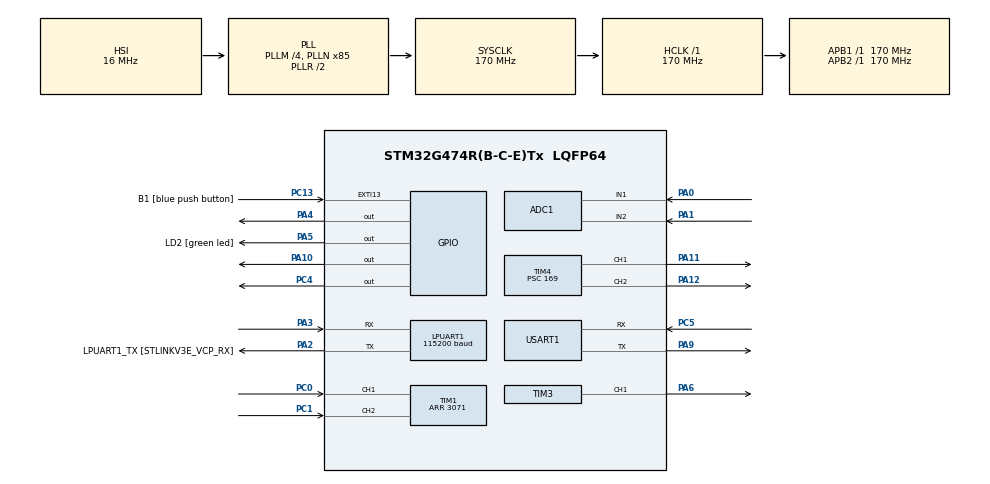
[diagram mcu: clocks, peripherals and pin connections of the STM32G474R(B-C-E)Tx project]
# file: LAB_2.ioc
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ADC1.Channel-0\#ChannelRegularConversion=ADC_CHANNEL_1
ADC1.Channel-1\#ChannelRegularConversion=ADC_CHANNEL_2
ADC1.ContinuousConvMode=ENABLE
ADC1.DMAContinuousRequests=ENABLE
ADC1.NbrOfConversion=2
ADC1.NbrOfConversionFlag=1
ADC1.OffsetNumber-0\#ChannelRegularConversion=ADC_OFFSET_NONE
ADC1.OffsetNumber-1\#ChannelRegularConversion=ADC_OFFSET_NONE
ADC1.Rank-0\#ChannelRegularConversion=1
ADC1.Rank-1\#ChannelRegularConversion=2
ADC1.SamplingTime-0\#ChannelRegularConversion=ADC_SAMPLETIME_640CYCLES_5
ADC1.SamplingTime-1\#ChannelRegularConversion=ADC_SAMPLETIME_640CYCLES_5
ADC1.master=1
ARM.CMSIS-DSP.1.15.0.CMSISJjDSP=Source
ARM.CMSIS.6.0.0.CMSISJjCORE=true
Dma.ADC1.0.Direction=DMA_PERIPH_TO_MEMORY
Dma.ADC1.0.EventEnable=DISABLE
Dma.ADC1.0.Instance=DMA1_Channel1
Dma.ADC1.0.MemDataAlignment=DMA_MDATAALIGN_HALFWORD
Dma.ADC1.0.MemInc=DMA_MINC_ENABLE
Dma.ADC1.0.Mode=DMA_CIRCULAR
Dma.ADC1.0.PeriphDataAlignment=DMA_PDATAALIGN_HALFWORD
Dma.ADC1.0.PeriphInc=DMA_PINC_DISABLE
Dma.ADC1.0.Polarity=HAL_DMAMUX_REQ_GEN_RISING
Dma.ADC1.0.Priority=DMA_PRIORITY_LOW
Dma.ADC1.0.RequestNumber=1
Dma.ADC1.0.SignalID=NONE
Dma.ADC1.0.SyncEnable=DISABLE
Dma.ADC1.0.SyncPolarity=HAL_DMAMUX_SYNC_NO_EVENT
Dma.ADC1.0.SyncRequestNumber=1
Dma.ADC1.0.SyncSignalID=NONE
Dma.LPUART1_RX.3.Direction=DMA_PERIPH_TO_MEMORY
Dma.LPUART1_RX.3.EventEnable=DISABLE
Dma.LPUART1_RX.3.Instance=DMA1_Channel2
Dma.LPUART1_RX.3.MemDataAlignment=DMA_MDATAALIGN_BYTE
Dma.LPUART1_RX.3.MemInc=DMA_MINC_ENABLE
Dma.LPUART1_RX.3.Mode=DMA_CIRCULAR
Dma.LPUART1_RX.3.PeriphDataAlignment=DMA_PDATAALIGN_BYTE
Dma.LPUART1_RX.3.PeriphInc=DMA_PINC_DISABLE
Dma.LPUART1_RX.3.Polarity=HAL_DMAMUX_REQ_GEN_RISING
Dma.LPUART1_RX.3.Priority=DMA_PRIORITY_LOW
Dma.LPUART1_RX.3.RequestNumber=1
Dma.LPUART1_RX.3.SignalID=NONE
Dma.LPUART1_RX.3.SyncEnable=DISABLE
Dma.LPUART1_RX.3.SyncPolarity=HAL_DMAMUX_SYNC_NO_EVENT
Dma.LPUART1_RX.3.SyncRequestNumber=1
Dma.LPUART1_RX.3.SyncSignalID=NONE
Dma.LPUART1_TX.4.Direction=DMA_MEMORY_TO_PERIPH
Dma.LPUART1_TX.4.EventEnable=DISABLE
Dma.LPUART1_TX.4.Instance=DMA1_Channel3
Dma.LPUART1_TX.4.MemDataAlignment=DMA_MDATAALIGN_BYTE
Dma.LPUART1_TX.4.MemInc=DMA_MINC_ENABLE
Dma.LPUART1_TX.4.Mode=DMA_NORMAL
Dma.LPUART1_TX.4.PeriphDataAlignment=DMA_PDATAALIGN_BYTE
Dma.LPUART1_TX.4.PeriphInc=DMA_PINC_DISABLE
Dma.LPUART1_TX.4.Polarity=HAL_DMAMUX_REQ_GEN_RISING
Dma.LPUART1_TX.4.Priority=DMA_PRIORITY_LOW
Dma.LPUART1_TX.4.RequestNumber=1
Dma.LPUART1_TX.4.SignalID=NONE
Dma.LPUART1_TX.4.SyncEnable=DISABLE
Dma.LPUART1_TX.4.SyncPolarity=HAL_DMAMUX_SYNC_NO_EVENT
Dma.LPUART1_TX.4.SyncRequestNumber=1
Dma.LPUART1_TX.4.SyncSignalID=NONE
Dma.Request0=ADC1
Dma.Request1=USART1_RX
Dma.Request2=USART1_TX
Dma.Request3=LPUART1_RX
Dma.Request4=LPUART1_TX
Dma.USART1_RX.1.Direction=DMA_PERIPH_TO_MEMORY
Dma.USART1_RX.1.EventEnable=DISABLE
Dma.USART1_RX.1.Instance=DMA1_Channel4
Dma.USART1_RX.1.MemDataAlignment=DMA_MDATAALIGN_BYTE
Dma.USART1_RX.1.MemInc=DMA_MINC_ENABLE
Dma.USART1_RX.1.Mode=DMA_CIRCULAR
Dma.USART1_RX.1.PeriphDataAlignment=DMA_PDATAALIGN_BYTE
Dma.USART1_RX.1.PeriphInc=DMA_PINC_DISABLE
Dma.USART1_RX.1.Polarity=HAL_DMAMUX_REQ_GEN_RISING
Dma.USART1_RX.1.Priority=DMA_PRIORITY_LOW
Dma.USART1_RX.1.RequestNumber=1
Dma.USART1_RX.1.SignalID=NONE
Dma.USART1_RX.1.SyncEnable=DISABLE
Dma.USART1_RX.1.SyncPolarity=HAL_DMAMUX_SYNC_NO_EVENT
Dma.USART1_RX.1.SyncRequestNumber=1
Dma.USART1_RX.1.SyncSignalID=NONE
Dma.USART1_TX.2.Direction=DMA_MEMORY_TO_PERIPH
Dma.USART1_TX.2.EventEnable=DISABLE
Dma.USART1_TX.2.Instance=DMA1_Channel5
Dma.USART1_TX.2.MemDataAlignment=DMA_MDATAALIGN_BYTE
Dma.USART1_TX.2.MemInc=DMA_MINC_ENABLE
Dma.USART1_TX.2.Mode=DMA_NORMAL
Dma.USART1_TX.2.PeriphDataAlignment=DMA_PDATAALIGN_BYTE
Dma.USART1_TX.2.PeriphInc=DMA_PINC_DISABLE
Dma.USART1_TX.2.Polarity=HAL_DMAMUX_REQ_GEN_RISING
Dma.USART1_TX.2.Priority=DMA_PRIORITY_LOW
Dma.USART1_TX.2.RequestNumber=1
Dma.USART1_TX.2.SignalID=NONE
Dma.USART1_TX.2.SyncEnable=DISABLE
Dma.USART1_TX.2.SyncPolarity=HAL_DMAMUX_SYNC_NO_EVENT
Dma.USART1_TX.2.SyncRequestNumber=1
Dma.USART1_TX.2.SyncSignalID=NONE
LPUART1.BaudRate=115200
Mcu.Family=STM32G4
Mcu.Name=STM32G474R(B-C-E)Tx
Mcu.Package=LQFP64
NVIC.ADC1_2_IRQn=true\:0\:0\:false\:false\:true\:true\:true\:true
NVIC.DMA1_Channel1_IRQn=true\:0\:0\:false\:false\:true\:false\:true\:true
NVIC.DMA1_Channel2_IRQn=true\:0\:0\:false\:false\:true\:false\:true\:true
NVIC.DMA1_Channel3_IRQn=true\:0\:0\:false\:false\:true\:false\:true\:true
NVIC.DMA1_Channel4_IRQn=true\:0\:0\:false\:false\:true\:false\:true\:true
NVIC.DMA1_Channel5_IRQn=true\:0\:0\:false\:false\:true\:false\:true\:true
NVIC.EXTI15_10_IRQn=true\:0\:0\:false\:false\:true\:true\:true\:true
NVIC.LPUART1_IRQn=true\:0\:0\:false\:false\:true\:true\:true\:true
NVIC.PriorityGroup=NVIC_PRIORITYGROUP_4
NVIC.TIM2_IRQn=true\:0\:0\:false\:false\:true\:true\:true\:true
NVIC.USART1_IRQn=true\:0\:0\:false\:false\:true\:true\:true\:true
PA0.Mode=IN1-Single-Ended
PA0.Signal=ADC1_IN1
PA1.Mode=IN2-Single-Ended
PA1.Signal=ADC1_IN2
PA10.Signal=GPIO_Output
PA11.Signal=S_TIM4_CH1
PA12.Signal=S_TIM4_CH2
PA13.GPIO_Label=T_SWDIO
PA13.Mode=Serial_Wire
PA13.Signal=SYS_JTMS-SWDIO
PA14.GPIO_Label=T_SWCLK
PA14.Mode=Serial_Wire
PA14.Signal=SYS_JTCK-SWCLK
PA2.GPIO_Label=LPUART1_TX [STLINKV3E_VCP_RX]
PA2.Mode=Asynchronous
PA2.Signal=LPUART1_TX
PA3.Mode=Asynchronous
PA3.Signal=LPUART1_RX
PA4.Signal=GPIO_Output
PA5.GPIO_Label=LD2 [green led]
PA5.Signal=GPIO_Output
PA6.Signal=S_TIM3_CH1
PA9.Mode=Asynchronous
PA9.Signal=USART1_TX
PB3.GPIO_Label=T_SWO
PB3.Signal=SYS_JTDO-SWO
PC0.Signal=S_TIM1_CH1
PC1.Signal=S_TIM1_CH2
PC13.GPIO_Label=B1 [blue push button]
PC13.Signal=GPXTI13
PC14-OSC32_IN.Mode=LSE-External-Oscillator
PC14-OSC32_IN.Signal=RCC_OSC32_IN
PC15-OSC32_OUT.Mode=LSE-External-Oscillator
PC15-OSC32_OUT.Signal=RCC_OSC32_OUT
PC4.Signal=GPIO_Output
PC5.Mode=Asynchronous
PC5.Signal=USART1_RX
PF0-OSC_IN.Mode=HSE-External-Oscillator
PF0-OSC_IN.Signal=RCC_OSC_IN
PF1-OSC_OUT.Mode=HSE-External-Oscillator
PF1-OSC_OUT.Signal=RCC_OSC_OUT
ProjectManager.HeapSize=0x200
ProjectManager.StackSize=0x400
ProjectManager.TargetToolchain=STM32CubeIDE
RCC.ADC12Freq_Value=170000000
RCC.ADC345Freq_Value=170000000
RCC.AHBFreq_Value=170000000
RCC.APB1Freq_Value=170000000
RCC.APB1TimFreq_Value=170000000
RCC.APB2Freq_Value=170000000
RCC.APB2TimFreq_Value=170000000
RCC.CortexFreq_Value=170000000
RCC.EXTERNAL_CLOCK_VALUE=12288000
RCC.HCLKFreq_Value=170000000
RCC.HSE_VALUE=24000000
RCC.HSI48_VALUE=48000000
RCC.HSI_VALUE=16000000
RCC.PLLM=RCC_PLLM_DIV4
RCC.PLLN=85
RCC.RTCClockSelection=RCC_RTCCLKSOURCE_LSE
RCC.SYSCLKFreq_VALUE=170000000
RCC.SYSCLKSource=RCC_SYSCLKSOURCE_PLLCLK
RCC.USBFreq_Value=170000000
RCC.VCOOutputFreq_Value=340000000
SH.S_TIM1_CH1.0=TIM1_CH1,Encoder_Interface
SH.S_TIM1_CH2.0=TIM1_CH2,Encoder_Interface
SH.S_TIM3_CH1.0=TIM3_CH1,PWM Generation1 CH1
SH.S_TIM4_CH1.0=TIM4_CH1,PWM Generation1 CH1
SH.S_TIM4_CH2.0=TIM4_CH2,PWM Generation2 CH2
TIM1.EncoderMode=TIM_ENCODERMODE_TI12
TIM1.PeriodNoDither=3071
TIM2.PeriodNoDither=999
TIM2.Prescaler=169
TIM3.Channel-PWM\ Generation1\ CH1=TIM_CHANNEL_1
TIM3.PeriodNoDither=4999
TIM3.Prescaler=169
TIM3.PulseNoDither_1=0
TIM4.Channel-PWM\ Generation1\ CH1=TIM_CHANNEL_1
TIM4.Channel-PWM\ Generation2\ CH2=TIM_CHANNEL_2
TIM4.PeriodNoDither=4999
TIM4.Prescaler=169
USART1.VirtualMode-Asynchronous=VM_ASYNC
VP_ARM.CMSIS-DSP_VS_CMSISJjDSP_1.15.0_1.15.0.Mode=CMSISJjDSP
VP_ARM.CMSIS_VS_CMSISJjCORE_6.0.0_6.0.0.Mode=CMSISJjCORE
VP_SYS_VS_DBSignals.Mode=DisableDeadBatterySignals
VP_TIM2_VS_ClockSourceINT.Mode=Internal
VP_TIM3_VS_ClockSourceINT.Mode=Internal
VP_TIM4_VS_ClockSourceINT.Mode=Internal
board=NUCLEO-G474RE

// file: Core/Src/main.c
/* USER CODE BEGIN Header */
/**
  ******************************************************************************
  * @file           : main.c
  * @brief          : Main program body
  ******************************************************************************
  * @attention
  *
  * Copyright (c) 2024 STMicroelectronics.
  * All rights reserved.
  *
  * This software is licensed under terms that can be found in the LICENSE file
  * in the root directory of this software component.
  * If no LICENSE file comes with this software, it is provided AS-IS.
  *
  ******************************************************************************
  */
/* USER CODE END Header */
#include "main.h"

/* USER CODE BEGIN Includes */
#include "arm_math.h"
#include "stdio.h"
#include "string.h"
/* USER CODE END Includes */

ADC_HandleTypeDef hadc1;
DMA_HandleTypeDef hdma_adc1;

UART_HandleTypeDef hlpuart1;
UART_HandleTypeDef huart1;
DMA_HandleTypeDef hdma_lpuart1_rx;
DMA_HandleTypeDef hdma_lpuart1_tx;
DMA_HandleTypeDef hdma_usart1_rx;
DMA_HandleTypeDef hdma_usart1_tx;

TIM_HandleTypeDef htim1;
TIM_HandleTypeDef htim2;
TIM_HandleTypeDef htim3;
TIM_HandleTypeDef htim4;

/* USER CODE BEGIN PV */
int Mode = 0;
uint16_t PWM_set = 0;
int vfbtopwm = 0;
float Vfeedback = 0;
double absVfb = 0;
int usepwm = 0;
int err = 0;
uint16_t a=20;
double clockwise = 0;
double counterclockwise = 0;

uint16_t angular_position = 0;
uint16_t set_point = 0;

uint16_t ADC_RawRead[2] = {0};

arm_pid_instance_f32 PID = {0};
arm_pid_instance_f32 PID2 = {0};

uint32_t QEIReadRaw;
uint32_t motor2Angle;

int8_t RxBuffer[4];
uint8_t TxBuffer[4];
int MAT_PWM = 0;
/* USER CODE END PV */

void SystemClock_Config(void);
static void MX_GPIO_Init(void);
static void MX_DMA_Init(void);
static void MX_ADC1_Init(void);
static void MX_TIM3_Init(void);
static void MX_TIM2_Init(void);
static void MX_TIM1_Init(void);
static void MX_TIM4_Init(void);
static void MX_LPUART1_UART_Init(void);
static void MX_USART1_UART_Init(void);
/* USER CODE BEGIN PFP */
void Part_I_PID_ADC();
void Part_II_QEI();
void Part_III_UART();
void UARTTrans();
void UARTReci();
void UARTDMAConfig();

/* USER CODE END PFP */

int main(void)
{

  /* MCU Configuration--------------------------------------------------------*/

  /* Reset of all peripherals, Initializes the Flash interface and the Systick. */
  HAL_Init();

  /* Configure the system clock */
  SystemClock_Config();

  /* Initialize all configured peripherals */
  MX_GPIO_Init();
  MX_DMA_Init();
  MX_ADC1_Init();
  MX_TIM3_Init();
  MX_TIM2_Init();
  MX_TIM1_Init();
  MX_TIM4_Init();
  MX_LPUART1_UART_Init();
  MX_USART1_UART_Init();
  /* USER CODE BEGIN 2 */
  HAL_ADCEx_Calibration_Start(&hadc1, ADC_SINGLE_ENDED);
  HAL_ADC_Start_DMA(&hadc1, ADC_RawRead, 2);

  PID.Kp = 0.01;
  PID.Ki = 0.0000045;
  PID.Kd = 0.000009;
  arm_pid_init_f32(&PID, 0);

  PID2.Kp = 0.0047;
  PID2.Ki = 0.000035;
  PID2.Kd = 0.00041;
  arm_pid_init_f32(&PID2, 0);

  HAL_TIM_Base_Start_IT(&htim2);

  HAL_TIM_Base_Start(&htim3);
  HAL_TIM_PWM_Start(&htim3, TIM_CHANNEL_1);
  HAL_TIM_Base_Start(&htim4);
  HAL_TIM_PWM_Start(&htim4, TIM_CHANNEL_1);
  HAL_TIM_PWM_Start(&htim4, TIM_CHANNEL_2);

  HAL_TIM_Encoder_Start(&htim1,TIM_CHANNEL_ALL);

  UARTReci();
  /* USER CODE END 2 */

  /* Infinite loop */
  while (1)
  {

    /* USER CODE BEGIN 3 */
//	  __HAL_TIM_SET_COMPARE(&htim3, TIM_CHANNEL_1, PWM_set);
	  if(Mode == 0){
		  Part_I_PID_ADC();
	  }
	  else if(Mode == 1){
		  QEIReadRaw = __HAL_TIM_GET_COUNTER(&htim1);
		  Part_II_QEI();
	  }
	  else if(Mode == 2){
		  Part_III_UART();
	  }
  }
  /* USER CODE END 3 */
}

void SystemClock_Config(void)
{
  RCC_OscInitTypeDef RCC_OscInitStruct = {0};
  RCC_ClkInitTypeDef RCC_ClkInitStruct = {0};

  /** Configure the main internal regulator output voltage
  */
  HAL_PWREx_ControlVoltageScaling(PWR_REGULATOR_VOLTAGE_SCALE1_BOOST);

  /** Initializes the RCC Oscillators according to the specified parameters
  * in the RCC_OscInitTypeDef structure.
  */
  RCC_OscInitStruct.OscillatorType = RCC_OSCILLATORTYPE_HSI;
  RCC_OscInitStruct.HSIState = RCC_HSI_ON;
  RCC_OscInitStruct.HSICalibrationValue = RCC_HSICALIBRATION_DEFAULT;
  RCC_OscInitStruct.PLL.PLLState = RCC_PLL_ON;
  RCC_OscInitStruct.PLL.PLLSource = RCC_PLLSOURCE_HSI;
  RCC_OscInitStruct.PLL.PLLM = RCC_PLLM_DIV4;
  RCC_OscInitStruct.PLL.PLLN = 85;
  RCC_OscInitStruct.PLL.PLLP = RCC_PLLP_DIV2;
  RCC_OscInitStruct.PLL.PLLQ = RCC_PLLQ_DIV2;
  RCC_OscInitStruct.PLL.PLLR = RCC_PLLR_DIV2;
  if (HAL_RCC_OscConfig(&RCC_OscInitStruct) != HAL_OK)
  {
    Error_Handler();
  }

  /** Initializes the CPU, AHB and APB buses clocks
  */
  RCC_ClkInitStruct.ClockType = RCC_CLOCKTYPE_HCLK|RCC_CLOCKTYPE_SYSCLK
                              |RCC_CLOCKTYPE_PCLK1|RCC_CLOCKTYPE_PCLK2;
  RCC_ClkInitStruct.SYSCLKSource = RCC_SYSCLKSOURCE_PLLCLK;
  RCC_ClkInitStruct.AHBCLKDivider = RCC_SYSCLK_DIV1;
  RCC_ClkInitStruct.APB1CLKDivider = RCC_HCLK_DIV1;
  RCC_ClkInitStruct.APB2CLKDivider = RCC_HCLK_DIV1;

  if (HAL_RCC_ClockConfig(&RCC_ClkInitStruct, FLASH_LATENCY_4) != HAL_OK)
  {
    Error_Handler();
  }
}

static void MX_ADC1_Init(void)
{

  ADC_MultiModeTypeDef multimode = {0};
  ADC_ChannelConfTypeDef sConfig = {0};

  /** Common config
  */
  hadc1.Instance = ADC1;
  hadc1.Init.ClockPrescaler = ADC_CLOCK_SYNC_PCLK_DIV4;
  hadc1.Init.Resolution = ADC_RESOLUTION_12B;
  hadc1.Init.DataAlign = ADC_DATAALIGN_RIGHT;
  hadc1.Init.GainCompensation = 0;
  hadc1.Init.ScanConvMode = ADC_SCAN_ENABLE;
  hadc1.Init.EOCSelection = ADC_EOC_SINGLE_CONV;
  hadc1.Init.LowPowerAutoWait = DISABLE;
  hadc1.Init.ContinuousConvMode = ENABLE;
  hadc1.Init.NbrOfConversion = 2;
  hadc1.Init.DiscontinuousConvMode = DISABLE;
  hadc1.Init.ExternalTrigConv = ADC_SOFTWARE_START;
  hadc1.Init.ExternalTrigConvEdge = ADC_EXTERNALTRIGCONVEDGE_NONE;
  hadc1.Init.DMAContinuousRequests = ENABLE;
  hadc1.Init.Overrun = ADC_OVR_DATA_PRESERVED;
  hadc1.Init.OversamplingMode = DISABLE;
  if (HAL_ADC_Init(&hadc1) != HAL_OK)
  {
    Error_Handler();
  }

  /** Configure the ADC multi-mode
  */
  multimode.Mode = ADC_MODE_INDEPENDENT;
  if (HAL_ADCEx_MultiModeConfigChannel(&hadc1, &multimode) != HAL_OK)
  {
    Error_Handler();
  }

  /** Configure Regular Channel
  */
  sConfig.Channel = ADC_CHANNEL_1;
  sConfig.Rank = ADC_REGULAR_RANK_1;
  sConfig.SamplingTime = ADC_SAMPLETIME_640CYCLES_5;
  sConfig.SingleDiff = ADC_SINGLE_ENDED;
  sConfig.OffsetNumber = ADC_OFFSET_NONE;
  sConfig.Offset = 0;
  if (HAL_ADC_ConfigChannel(&hadc1, &sConfig) != HAL_OK)
  {
    Error_Handler();
  }

  /** Configure Regular Channel
  */
  sConfig.Channel = ADC_CHANNEL_2;
  sConfig.Rank = ADC_REGULAR_RANK_2;
  if (HAL_ADC_ConfigChannel(&hadc1, &sConfig) != HAL_OK)
  {
    Error_Handler();
  }

}

static void MX_LPUART1_UART_Init(void)
{

  hlpuart1.Instance = LPUART1;
  hlpuart1.Init.BaudRate = 115200;
  hlpuart1.Init.WordLength = UART_WORDLENGTH_8B;
  hlpuart1.Init.StopBits = UART_STOPBITS_1;
  hlpuart1.Init.Parity = UART_PARITY_NONE;
  hlpuart1.Init.Mode = UART_MODE_TX_RX;
  hlpuart1.Init.HwFlowCtl = UART_HWCONTROL_NONE;
  hlpuart1.Init.OneBitSampling = UART_ONE_BIT_SAMPLE_DISABLE;
  hlpuart1.Init.ClockPrescaler = UART_PRESCALER_DIV1;
  hlpuart1.AdvancedInit.AdvFeatureInit = UART_ADVFEATURE_NO_INIT;
  if (HAL_UART_Init(&hlpuart1) != HAL_OK)
  {
    Error_Handler();
  }
  if (HAL_UARTEx_SetTxFifoThreshold(&hlpuart1, UART_TXFIFO_THRESHOLD_1_8) != HAL_OK)
  {
    Error_Handler();
  }
  if (HAL_UARTEx_SetRxFifoThreshold(&hlpuart1, UART_RXFIFO_THRESHOLD_1_8) != HAL_OK)
  {
    Error_Handler();
  }
  if (HAL_UARTEx_DisableFifoMode(&hlpuart1) != HAL_OK)
  {
    Error_Handler();
  }

}

static void MX_USART1_UART_Init(void)
{

  huart1.Instance = USART1;
  huart1.Init.BaudRate = 115200;
  huart1.Init.WordLength = UART_WORDLENGTH_8B;
  huart1.Init.StopBits = UART_STOPBITS_1;
  huart1.Init.Parity = UART_PARITY_NONE;
  huart1.Init.Mode = UART_MODE_TX_RX;
  huart1.Init.HwFlowCtl = UART_HWCONTROL_NONE;
  huart1.Init.OverSampling = UART_OVERSAMPLING_16;
  huart1.Init.OneBitSampling = UART_ONE_BIT_SAMPLE_DISABLE;
  huart1.Init.ClockPrescaler = UART_PRESCALER_DIV1;
  huart1.AdvancedInit.AdvFeatureInit = UART_ADVFEATURE_NO_INIT;
  if (HAL_UART_Init(&huart1) != HAL_OK)
  {
    Error_Handler();
  }
  if (HAL_UARTEx_SetTxFifoThreshold(&huart1, UART_TXFIFO_THRESHOLD_1_8) != HAL_OK)
  {
    Error_Handler();
  }
  if (HAL_UARTEx_SetRxFifoThreshold(&huart1, UART_RXFIFO_THRESHOLD_1_8) != HAL_OK)
  {
    Error_Handler();
  }
  if (HAL_UARTEx_DisableFifoMode(&huart1) != HAL_OK)
  {
    Error_Handler();
  }

}

static void MX_TIM1_Init(void)
{

  TIM_Encoder_InitTypeDef sConfig = {0};
  TIM_MasterConfigTypeDef sMasterConfig = {0};

  htim1.Instance = TIM1;
  htim1.Init.Prescaler = 0;
  htim1.Init.CounterMode = TIM_COUNTERMODE_UP;
  htim1.Init.Period = 3071;
  htim1.Init.ClockDivision = TIM_CLOCKDIVISION_DIV1;
  htim1.Init.RepetitionCounter = 0;
  htim1.Init.AutoReloadPreload = TIM_AUTORELOAD_PRELOAD_DISABLE;
  sConfig.EncoderMode = TIM_ENCODERMODE_TI12;
  sConfig.IC1Polarity = TIM_ICPOLARITY_RISING;
  sConfig.IC1Selection = TIM_ICSELECTION_DIRECTTI;
  sConfig.IC1Prescaler = TIM_ICPSC_DIV1;
  sConfig.IC1Filter = 0;
  sConfig.IC2Polarity = TIM_ICPOLARITY_RISING;
  sConfig.IC2Selection = TIM_ICSELECTION_DIRECTTI;
  sConfig.IC2Prescaler = TIM_ICPSC_DIV1;
  sConfig.IC2Filter = 0;
  if (HAL_TIM_Encoder_Init(&htim1, &sConfig) != HAL_OK)
  {
    Error_Handler();
  }
  sMasterConfig.MasterOutputTrigger = TIM_TRGO_RESET;
  sMasterConfig.MasterOutputTrigger2 = TIM_TRGO2_RESET;
  sMasterConfig.MasterSlaveMode = TIM_MASTERSLAVEMODE_DISABLE;
  if (HAL_TIMEx_MasterConfigSynchronization(&htim1, &sMasterConfig) != HAL_OK)
  {
    Error_Handler();
  }

}

static void MX_TIM2_Init(void)
{

  TIM_ClockConfigTypeDef sClockSourceConfig = {0};
  TIM_MasterConfigTypeDef sMasterConfig = {0};

  htim2.Instance = TIM2;
  htim2.Init.Prescaler = 169;
  htim2.Init.CounterMode = TIM_COUNTERMODE_UP;
  htim2.Init.Period = 999;
  htim2.Init.ClockDivision = TIM_CLOCKDIVISION_DIV1;
  htim2.Init.AutoReloadPreload = TIM_AUTORELOAD_PRELOAD_DISABLE;
  if (HAL_TIM_Base_Init(&htim2) != HAL_OK)
  {
    Error_Handler();
  }
  sClockSourceConfig.ClockSource = TIM_CLOCKSOURCE_INTERNAL;
  if (HAL_TIM_ConfigClockSource(&htim2, &sClockSourceConfig) != HAL_OK)
  {
    Error_Handler();
  }
  sMasterConfig.MasterOutputTrigger = TIM_TRGO_RESET;
  sMasterConfig.MasterSlaveMode = TIM_MASTERSLAVEMODE_DISABLE;
  if (HAL_TIMEx_MasterConfigSynchronization(&htim2, &sMasterConfig) != HAL_OK)
  {
    Error_Handler();
  }

}

static void MX_TIM3_Init(void)
{

  TIM_ClockConfigTypeDef sClockSourceConfig = {0};
  TIM_MasterConfigTypeDef sMasterConfig = {0};
  TIM_OC_InitTypeDef sConfigOC = {0};

  htim3.Instance = TIM3;
  htim3.Init.Prescaler = 169;
  htim3.Init.CounterMode = TIM_COUNTERMODE_UP;
  htim3.Init.Period = 4999;
  htim3.Init.ClockDivision = TIM_CLOCKDIVISION_DIV1;
  htim3.Init.AutoReloadPreload = TIM_AUTORELOAD_PRELOAD_DISABLE;
  if (HAL_TIM_Base_Init(&htim3) != HAL_OK)
  {
    Error_Handler();
  }
  sClockSourceConfig.ClockSource = TIM_CLOCKSOURCE_INTERNAL;
  if (HAL_TIM_ConfigClockSource(&htim3, &sClockSourceConfig) != HAL_OK)
  {
    Error_Handler();
  }
  if (HAL_TIM_PWM_Init(&htim3) != HAL_OK)
  {
    Error_Handler();
  }
  sMasterConfig.MasterOutputTrigger = TIM_TRGO_RESET;
  sMasterConfig.MasterSlaveMode = TIM_MASTERSLAVEMODE_DISABLE;
  if (HAL_TIMEx_MasterConfigSynchronization(&htim3, &sMasterConfig) != HAL_OK)
  {
    Error_Handler();
  }
  sConfigOC.OCMode = TIM_OCMODE_PWM1;
  sConfigOC.Pulse = 0;
  sConfigOC.OCPolarity = TIM_OCPOLARITY_HIGH;
  sConfigOC.OCFastMode = TIM_OCFAST_DISABLE;
  if (HAL_TIM_PWM_ConfigChannel(&htim3, &sConfigOC, TIM_CHANNEL_1) != HAL_OK)
  {
    Error_Handler();
  }
  HAL_TIM_MspPostInit(&htim3);

}

static void MX_TIM4_Init(void)
{

  TIM_ClockConfigTypeDef sClockSourceConfig = {0};
  TIM_MasterConfigTypeDef sMasterConfig = {0};
  TIM_OC_InitTypeDef sConfigOC = {0};

  htim4.Instance = TIM4;
  htim4.Init.Prescaler = 169;
  htim4.Init.CounterMode = TIM_COUNTERMODE_UP;
  htim4.Init.Period = 4999;
  htim4.Init.ClockDivision = TIM_CLOCKDIVISION_DIV1;
  htim4.Init.AutoReloadPreload = TIM_AUTORELOAD_PRELOAD_DISABLE;
  if (HAL_TIM_Base_Init(&htim4) != HAL_OK)
  {
    Error_Handler();
  }
  sClockSourceConfig.ClockSource = TIM_CLOCKSOURCE_INTERNAL;
  if (HAL_TIM_ConfigClockSource(&htim4, &sClockSourceConfig) != HAL_OK)
  {
    Error_Handler();
  }
  if (HAL_TIM_PWM_Init(&htim4) != HAL_OK)
  {
    Error_Handler();
  }
  sMasterConfig.MasterOutputTrigger = TIM_TRGO_RESET;
  sMasterConfig.MasterSlaveMode = TIM_MASTERSLAVEMODE_DISABLE;
  if (HAL_TIMEx_MasterConfigSynchronization(&htim4, &sMasterConfig) != HAL_OK)
  {
    Error_Handler();
  }
  sConfigOC.OCMode = TIM_OCMODE_PWM1;
  sConfigOC.Pulse = 0;
  sConfigOC.OCPolarity = TIM_OCPOLARITY_HIGH;
  sConfigOC.OCFastMode = TIM_OCFAST_DISABLE;
  if (HAL_TIM_PWM_ConfigChannel(&htim4, &sConfigOC, TIM_CHANNEL_1) != HAL_OK)
  {
    Error_Handler();
  }
  if (HAL_TIM_PWM_ConfigChannel(&htim4, &sConfigOC, TIM_CHANNEL_2) != HAL_OK)
  {
    Error_Handler();
  }
  HAL_TIM_MspPostInit(&htim4);

}

static void MX_DMA_Init(void)
{

  /* DMA controller clock enable */
  __HAL_RCC_DMAMUX1_CLK_ENABLE();
  __HAL_RCC_DMA1_CLK_ENABLE();

  /* DMA interrupt init */
  /* DMA1_Channel1_IRQn interrupt configuration */
  HAL_NVIC_SetPriority(DMA1_Channel1_IRQn, 0, 0);
  HAL_NVIC_EnableIRQ(DMA1_Channel1_IRQn);
  /* DMA1_Channel2_IRQn interrupt configuration */
  HAL_NVIC_SetPriority(DMA1_Channel2_IRQn, 0, 0);
  HAL_NVIC_EnableIRQ(DMA1_Channel2_IRQn);
  /* DMA1_Channel3_IRQn interrupt configuration */
  HAL_NVIC_SetPriority(DMA1_Channel3_IRQn, 0, 0);
  HAL_NVIC_EnableIRQ(DMA1_Channel3_IRQn);
  /* DMA1_Channel4_IRQn interrupt configuration */
  HAL_NVIC_SetPriority(DMA1_Channel4_IRQn, 0, 0);
  HAL_NVIC_EnableIRQ(DMA1_Channel4_IRQn);
  /* DMA1_Channel5_IRQn interrupt configuration */
  HAL_NVIC_SetPriority(DMA1_Channel5_IRQn, 0, 0);
  HAL_NVIC_EnableIRQ(DMA1_Channel5_IRQn);

}

static void MX_GPIO_Init(void)
{
  GPIO_InitTypeDef GPIO_InitStruct = {0};

  /* GPIO Ports Clock Enable */
  __HAL_RCC_GPIOC_CLK_ENABLE();
  __HAL_RCC_GPIOF_CLK_ENABLE();
  __HAL_RCC_GPIOA_CLK_ENABLE();
  __HAL_RCC_GPIOB_CLK_ENABLE();

  /*Configure GPIO pin Output Level */
  HAL_GPIO_WritePin(GPIOA, GPIO_PIN_4|LD2_Pin|GPIO_PIN_10, GPIO_PIN_RESET);

  /*Configure GPIO pin Output Level */
  HAL_GPIO_WritePin(GPIOC, GPIO_PIN_4, GPIO_PIN_RESET);

  /*Configure GPIO pin : B1_Pin */
  GPIO_InitStruct.Pin = B1_Pin;
  GPIO_InitStruct.Mode = GPIO_MODE_IT_RISING;
  GPIO_InitStruct.Pull = GPIO_NOPULL;
  HAL_GPIO_Init(B1_GPIO_Port, &GPIO_InitStruct);

  /*Configure GPIO pins : PA4 LD2_Pin PA10 */
  GPIO_InitStruct.Pin = GPIO_PIN_4|LD2_Pin|GPIO_PIN_10;
  GPIO_InitStruct.Mode = GPIO_MODE_OUTPUT_PP;
  GPIO_InitStruct.Pull = GPIO_NOPULL;
  GPIO_InitStruct.Speed = GPIO_SPEED_FREQ_LOW;
  HAL_GPIO_Init(GPIOA, &GPIO_InitStruct);

  /*Configure GPIO pin : PC4 */
  GPIO_InitStruct.Pin = GPIO_PIN_4;
  GPIO_InitStruct.Mode = GPIO_MODE_OUTPUT_PP;
  GPIO_InitStruct.Pull = GPIO_NOPULL;
  GPIO_InitStruct.Speed = GPIO_SPEED_FREQ_LOW;
  HAL_GPIO_Init(GPIOC, &GPIO_InitStruct);

  /* EXTI interrupt init*/
  HAL_NVIC_SetPriority(EXTI15_10_IRQn, 0, 0);
  HAL_NVIC_EnableIRQ(EXTI15_10_IRQn);

}

/* USER CODE BEGIN 4 */
void HAL_TIM_PeriodElapsedCallback(TIM_HandleTypeDef *htim)
{
	if(htim == &htim2)
	{
		if(Mode == 0){
			__HAL_TIM_SET_COMPARE(&htim4, TIM_CHANNEL_2, 0);
			__HAL_TIM_SET_COMPARE(&htim4, TIM_CHANNEL_1, 0);
			angular_position = (ADC_RawRead[0] * 359) / 4095;
			set_point = (ADC_RawRead[1] * 359) / 4095;
		}
		else if(Mode == 1){
			__HAL_TIM_SET_COMPARE(&htim3, TIM_CHANNEL_1, 0);
			QEIReadRaw = __HAL_TIM_GET_COUNTER(&htim1);
			angular_position = (QEIReadRaw*360)/3072;
			set_point = (ADC_RawRead[1] * 359) / 4095;
		}
		else if(Mode == 2){
			__HAL_TIM_SET_COMPARE(&htim4, TIM_CHANNEL_2, 0);
			__HAL_TIM_SET_COMPARE(&htim4, TIM_CHANNEL_1, 0);
			angular_position = (ADC_RawRead[0] * 359) / 4095;
			set_point = (ADC_RawRead[1] * 359) / 4095;
		}
		clockwise = fmod(fabs(set_point - angular_position), 360);
		counterclockwise = fmod(360 - fabs(set_point - angular_position), 360);
	}
}

void Part_I_PID_ADC(){
	HAL_GPIO_WritePin(GPIOA, GPIO_PIN_5,GPIO_PIN_SET);
	static uint32_t timestamp = 0;
	if(timestamp < HAL_GetTick())
	{
		timestamp = HAL_GetTick() + 10;

		err = set_point - angular_position;
		Vfeedback = arm_pid_f32(&PID, err);
		absVfb = fabs(Vfeedback) *2.5;
		vfbtopwm = (absVfb * 5000)/12;
		if(vfbtopwm < 1500 && vfbtopwm > 25) usepwm = 1500;
		else usepwm = vfbtopwm;
		__HAL_TIM_SET_COMPARE(&htim3, TIM_CHANNEL_1, usepwm);
		if(fabs(err) < 7) usepwm = 0;

		int errr = set_point - angular_position;
		if(errr > 180) errr -= 360;
		else if(errr < -180) errr += 360;
//		if(set_point - angular_position > 0 ){ //CW
//			HAL_GPIO_WritePin(GPIOA, GPIO_PIN_10,GPIO_PIN_SET);
//			HAL_GPIO_WritePin(GPIOC, GPIO_PIN_4,GPIO_PIN_RESET);
//		}
//		else if(set_point - angular_position < 0 ){ //CCW
//			HAL_GPIO_WritePin(GPIOA, GPIO_PIN_10,GPIO_PIN_RESET);
//			HAL_GPIO_WritePin(GPIOC, GPIO_PIN_4,GPIO_PIN_SET);
//		}
		if(errr > 0){
			HAL_GPIO_WritePin(GPIOA, GPIO_PIN_10,GPIO_PIN_SET);
			HAL_GPIO_WritePin(GPIOC, GPIO_PIN_4,GPIO_PIN_RESET);
		}
		else if(errr < 0){
			HAL_GPIO_WritePin(GPIOA, GPIO_PIN_10,GPIO_PIN_RESET);
			HAL_GPIO_WritePin(GPIOC, GPIO_PIN_4,GPIO_PIN_SET);
		}

	}

}

void Part_II_QEI(){
	HAL_GPIO_WritePin(GPIOA, GPIO_PIN_5,GPIO_PIN_RESET);
	static uint32_t timestamp = 0;
	if(timestamp < HAL_GetTick())
	{
		timestamp = HAL_GetTick() + 10;

		err = set_point - angular_position;
		Vfeedback = arm_pid_f32(&PID2, err);

		absVfb = fabs(Vfeedback) * 2.5;
		vfbtopwm = (absVfb * 5000) / 5.00;

		if(vfbtopwm > 5000) usepwm = 5000;
		else if (fabs(err) < 1) usepwm = 0;
		else usepwm = vfbtopwm;

		int errr = set_point - angular_position;
		if(errr > 180) errr -= 360;
		else if(errr < -180) errr += 360;
		if(errr > 0){
			__HAL_TIM_SET_COMPARE(&htim4, TIM_CHANNEL_2, usepwm);
			__HAL_TIM_SET_COMPARE(&htim4, TIM_CHANNEL_1, 0);
		}
		else if(errr < 0){
			__HAL_TIM_SET_COMPARE(&htim4, TIM_CHANNEL_2, 0);
			__HAL_TIM_SET_COMPARE(&htim4, TIM_CHANNEL_1, usepwm);
		}

	}

}

void Part_III_UART(){
	static uint32_t timestamp = 0;
	static uint32_t timestamp2 = 0;
	if(timestamp < HAL_GetTick()){
		HAL_GPIO_TogglePin(GPIOA, GPIO_PIN_5);
		timestamp = HAL_GetTick() + 500;
	}

	err = set_point - angular_position;

	if(timestamp2 < HAL_GetTick()){
		timestamp2 = HAL_GetTick() + 5;
		UARTTrans();
//		UARTReci();
	}

	absVfb = fabs(MAT_PWM);
	vfbtopwm = (absVfb * 5000)/550;
	if(vfbtopwm < 1500 && vfbtopwm > 25) usepwm = 1500;
	else usepwm = vfbtopwm;
	__HAL_TIM_SET_COMPARE(&htim3, TIM_CHANNEL_1, usepwm);
	if(fabs(err) < 7) usepwm = 0;

	int errr = set_point - angular_position;
	if(errr > 180) errr -= 360;
	else if(errr < -180) errr += 360;
	if(errr > 0){
		HAL_GPIO_WritePin(GPIOA, GPIO_PIN_10,GPIO_PIN_SET);
		HAL_GPIO_WritePin(GPIOC, GPIO_PIN_4,GPIO_PIN_RESET);
	}
	else if(errr < 0){
		HAL_GPIO_WritePin(GPIOA, GPIO_PIN_10,GPIO_PIN_RESET);
		HAL_GPIO_WritePin(GPIOC, GPIO_PIN_4,GPIO_PIN_SET);
	}

}

void UARTTrans(){
	uint16_t ert = fabs(err);
	TxBuffer[0] = 0x45;
	TxBuffer[1] = (uint8_t)(ert & 0xFF);
	TxBuffer[2] = (uint8_t)((ert>> 8) & 0xFF);
	TxBuffer[3] = 0x0A;
	HAL_UART_Transmit_IT(&hlpuart1, TxBuffer, sizeof(TxBuffer));
}

void UARTReci()
{

	HAL_UART_Receive_IT(&hlpuart1, RxBuffer, 4);
//	RxBuffer[3] = '\0';
//	MAT_PWM = (int16_t)(RxBuffer[1]+(RxBuffer[2]<<8));

}

void HAL_UART_RxCpltCallback(UART_HandleTypeDef*hlpuart)
{
	if(hlpuart == &hlpuart1)
	{
		RxBuffer[3] = '\0';
		HAL_UART_Receive_IT(&hlpuart1, RxBuffer, 4);
		MAT_PWM = (int16_t)(RxBuffer[1]+(RxBuffer[2]<<8));
	}
}

void HAL_GPIO_EXTI_Callback(uint16_t GPIO_Pin)
{
	if(GPIO_Pin == GPIO_PIN_13)
	{
		Mode = (Mode + 1) % 3;
	}
}
/* USER CODE END 4 */

void Error_Handler(void)
{
  __disable_irq();
  while (1)
  {
  }
}
